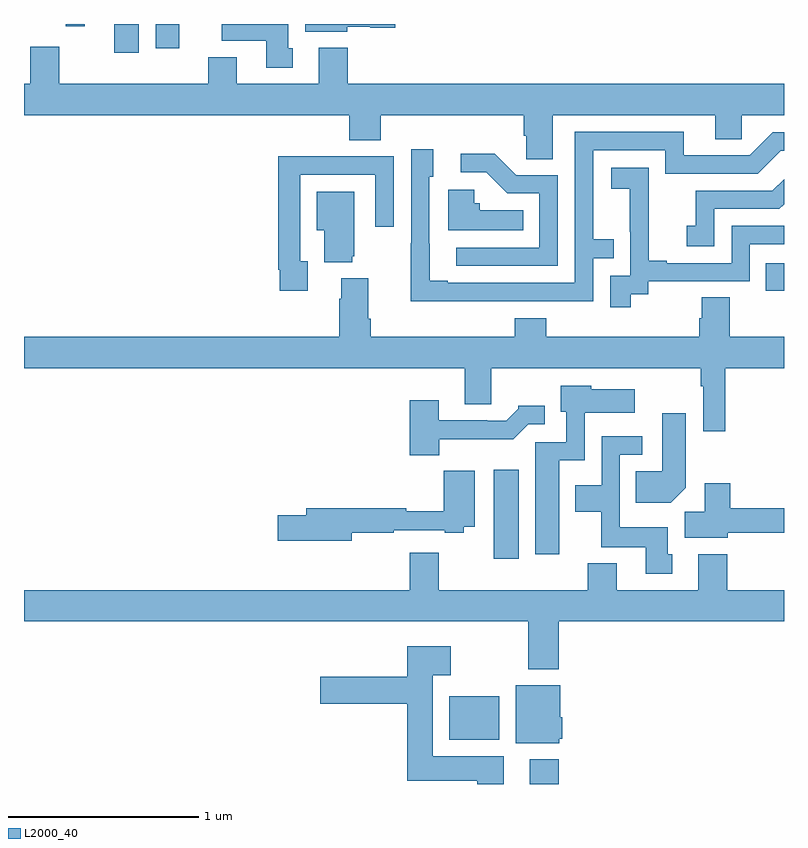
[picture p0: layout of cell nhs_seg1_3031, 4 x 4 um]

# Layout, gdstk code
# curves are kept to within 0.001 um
import gdstk
lib = gdstk.Library(unit=1e-6, precision=1e-09)
def R(c, l, rs):  # rectangles x0, y0, x1, y1
    for r in rs: c.add(gdstk.rectangle(r[:2], r[2:], *l))
def P(c, l, *ps):  # polygons
    for p in ps: c.add(gdstk.Polygon(p, *l))
L2000_40 = (2000, 40)

nhs_seg1_3031 = lib.new_cell('nhs_seg1_3031')
R(nhs_seg1_3031, L2000_40, [(277.661,560.199,277.814,560.329), (277.238,560.432,277.501,560.662), (277.472,561.384,277.603,561.853), (278.905,562.794,279,562.941), (275.474,564.048,275.605,564.199), (275.693,564.072,275.818,564.199)])
P(nhs_seg1_3031, L2000_40, [(276.702,564.185),(276.822,564.185),(276.822,564.178),(276.955,564.178),(276.955,564.199),(276.479,564.199),(276.479,564.158),(276.702,564.158)],
  [(276.415,564.072),(276.391,564.072),(276.391,564.199),(276.04,564.199),(276.04,564.11),(276.275,564.11),(276.275,563.97),(276.415,563.97)],
  [(275.319,564.199),(275,564.199),(275,564.198),(275.219,564.198),(275.219,564.186),(275.319,564.186)],
  [(275.969,564.025),(275.969,563.884),(275.185,563.884),(275.185,564.079),(275.033,564.079),(275.033,563.884),(275,563.884),(275,563.72),(276.713,563.72),(276.713,563.587),(276.878,563.587),(276.878,563.72),(277.631,563.72),(277.631,563.611),(277.644,563.611),(277.644,563.488),(277.783,563.488),(277.783,563.72),(278.639,563.72),(278.639,563.593),(278.778,563.593),(278.778,563.72),(279,563.72),(279,563.884),(276.704,563.884),(276.704,564.073),(276.551,564.073),(276.551,563.884),(276.121,563.884),(276.121,564.025)],
  [(277.499,562.74),(277.995,562.74),(277.995,562.965),(278.105,562.965),(278.105,563.066),(277.995,563.066),(277.995,563.535),(278.376,563.535),(278.376,563.412),(278.862,563.412),(278.982,563.532),(279,563.532),(279,563.628),(278.94,563.628),(278.82,563.508),(278.473,563.508),(278.473,563.631),(277.899,563.631),(277.899,562.836),(277.231,562.836),(277.231,562.849),(277.135,562.849),(277.134,563.394),(277.153,563.394),(277.153,563.539),(277.038,563.539),(277.038,563.045),(277.036,563.045),(277.036,562.739)],
  [(277.809,563.403),(277.59,563.403),(277.477,563.516),(277.299,563.516),(277.299,563.418),(277.433,563.418),(277.544,563.307),(277.713,563.307),(277.713,563.022),(277.275,563.022),(277.275,562.926),(277.809,562.926)],
  [(276.493,562.95),(276.453,562.95),(276.453,563.406),(276.849,563.406),(276.849,563.133),(276.945,563.133),(276.945,563.502),(276.629,563.502),(276.629,563.504),(276.337,563.504),(276.337,562.906),(276.345,562.906),(276.345,562.794),(276.493,562.794)],
  [(278.194,562.777),(278.286,562.777),(278.286,562.845),(278.82,562.845),(278.82,563.04),(279,563.04),(279,563.136),(278.724,563.136),(278.724,562.941),(278.383,562.941),(278.383,562.954),(278.288,562.954),(278.288,563.237),(278.289,563.237),(278.289,563.443),(278.091,563.443),(278.091,563.333),(278.189,563.333),(278.189,563.105),(278.19,563.105),(278.19,562.875),(278.085,562.875),(278.085,562.707),(278.194,562.707)],
  [(278.634,563.226),(278.976,563.226),(279,563.25),(279,563.383),(278.939,563.322),(278.536,563.322),(278.536,563.137),(278.487,563.137),(278.487,563.028),(278.634,563.028)],
  [(277.628,563.218),(277.398,563.218),(277.398,563.256),(277.371,563.256),(277.371,563.326),(277.232,563.326),(277.232,563.114),(277.628,563.114)],
  [(276.728,562.977),(276.739,562.977),(276.739,563.317),(276.542,563.317),(276.542,563.114),(276.581,563.114),(276.581,562.946),(276.728,562.946)],
  [(278.69,562.388),(279,562.388),(279,562.552),(278.715,562.552),(278.715,562.76),(278.567,562.76),(278.567,562.65),(278.555,562.65),(278.555,562.552),(277.748,562.552),(277.748,562.651),(277.583,562.651),(277.583,562.552),(276.824,562.552),(276.824,562.648),(276.811,562.648),(276.811,562.861),(276.671,562.861),(276.671,562.754),(276.659,562.754),(276.659,562.552),(275,562.552),(275,562.388),(277.319,562.388),(277.319,562.198),(277.459,562.198),(277.459,562.388),(278.562,562.388),(278.562,562.292),(278.574,562.292),(278.574,562.056),(278.69,562.056)],
  [(277.816,561.902),(277.95,561.902),(277.95,562.154),(278.215,562.154),(278.215,562.276),(277.986,562.276),(277.986,562.294),(277.826,562.294),(277.826,562.158),(277.854,562.158),(277.854,561.999),(277.691,561.999),(277.691,561.408),(277.816,561.408)],
  [(277.186,562.014),(277.575,562.014),(277.653,562.092),(277.741,562.092),(277.741,562.189),(277.602,562.189),(277.602,562.174),(277.538,562.11),(277.439,562.11),(277.439,562.113),(277.183,562.113),(277.183,562.219),(277.031,562.219),(277.031,561.929),(277.186,561.929)],
  [(278.482,561.758),(278.482,562.15),(278.36,562.15),(278.36,561.844),(278.221,561.844),(278.221,561.68),(278.404,561.68)],
  [(278.413,561.408),(278.389,561.408),(278.389,561.55),(278.136,561.55),(278.136,561.933),(278.254,561.933),(278.254,562.029),(278.04,562.029),(278.04,561.772),(277.901,561.772),(277.901,561.632),(278.038,561.632),(278.038,561.446),(278.273,561.446),(278.273,561.306),(278.413,561.306)],
  [(276.724,561.522),(276.947,561.522),(276.947,561.534),(277.214,561.534),(277.214,561.522),(277.314,561.522),(277.314,561.554),(277.372,561.554),(277.372,561.847),(277.21,561.847),(277.21,561.635),(277.012,561.635),(277.012,561.65),(276.485,561.65),(276.485,561.614),(276.336,561.614),(276.336,561.479),(276.724,561.479)],
  [(278.704,561.522),(279,561.522),(279,561.65),(278.717,561.65),(278.717,561.781),(278.582,561.781),(278.582,561.632),(278.477,561.632),(278.477,561.494),(278.704,561.494)],
  [(277.814,561.056),(279,561.056),(279,561.22),(278.702,561.22),(278.702,561.409),(278.549,561.409),(278.549,561.22),(278.119,561.22),(278.119,561.361),(277.967,561.361),(277.967,561.22),(277.183,561.22),(277.183,561.415),(277.031,561.415),(277.031,561.22),(275,561.22),(275,561.056),(277.654,561.056),(277.654,560.804),(277.814,560.804)],
  [(277.525,560.344),(277.15,560.344),(277.15,560.771),(277.246,560.771),(277.246,560.923),(277.016,560.923),(277.016,560.763),(276.558,560.763),(276.558,560.621),(277.016,560.621),(277.016,560.216),(277.385,560.216),(277.385,560.199),(277.525,560.199)],
  [(277.818,560.436),(277.834,560.436),(277.834,560.55),(277.822,560.55),(277.822,560.719),(277.589,560.719),(277.589,560.414),(277.818,560.414)])

lib.write_gds('nhs_seg1_3031.gds')
